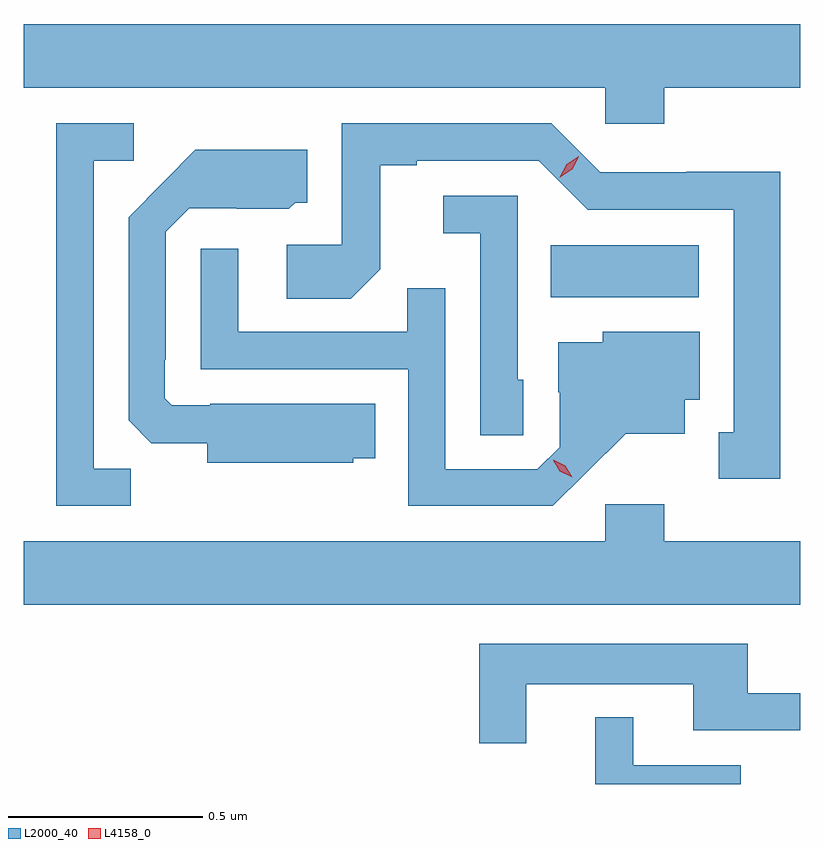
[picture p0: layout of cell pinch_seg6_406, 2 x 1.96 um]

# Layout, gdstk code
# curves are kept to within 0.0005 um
import gdstk
lib = gdstk.Library(unit=1e-6, precision=1e-09)
def R(c, l, rs):  # rectangles x0, y0, x1, y1
    for r in rs: c.add(gdstk.rectangle(r[:2], r[2:], *l))
def P(c, l, *ps):  # polygons
    for p in ps: c.add(gdstk.Polygon(p, *l))
L2000_40 = (2000, 40)
L4158_0 = (4158, 0)

pinch_seg6_406 = lib.new_cell('pinch_seg6_406')
R(pinch_seg6_406, L2000_40, [(636.646,933.476,637.027,933.61)])
P(pinch_seg6_406, L2000_40, [(636.938,934.016),(637.289,934.016),(637.289,934.18),(635.289,934.18),(635.289,934.016),(636.786,934.016),(636.786,933.923),(636.938,933.923)],
  [(635.565,933.035),(635.469,933.035),(635.469,933.828),(635.572,933.828),(635.572,933.924),(635.373,933.924),(635.373,932.94),(635.565,932.94)],
  [(637.237,933.8),(636.996,933.8),(636.996,933.798),(636.774,933.798),(636.648,933.924),(636.108,933.924),(636.108,933.612),(635.967,933.612),(635.967,933.472),(636.131,933.472),(636.207,933.548),(636.207,933.816),(636.301,933.816),(636.301,933.828),(636.615,933.828),(636.741,933.702),(637.118,933.702),(637.118,933.129),(637.079,933.129),(637.079,933.009),(637.237,933.009)],
  [(636.138,933.062),(636.194,933.062),(636.194,933.202),(635.77,933.202),(635.77,933.198),(635.67,933.198),(635.652,933.216),(635.652,933.316),(635.655,933.316),(635.655,933.645),(635.715,933.705),(635.838,933.705),(635.838,933.704),(635.972,933.704),(635.988,933.72),(636.019,933.72),(636.019,933.856),(635.731,933.856),(635.559,933.682),(635.559,933.16),(635.618,933.101),(635.762,933.101),(635.762,933.05),(636.138,933.05)],
  [(636.576,933.264),(636.561,933.264),(636.561,933.738),(636.369,933.738),(636.369,933.641),(636.465,933.641),(636.465,933.121),(636.576,933.121)],
  [(636.736,933.023),(636.839,933.125),(636.991,933.125),(636.991,933.212),(637.03,933.212),(637.03,933.388),(636.78,933.388),(636.78,933.361),(636.665,933.361),(636.665,933.232),(636.669,933.232),(636.669,933.09),(636.612,933.033),(636.375,933.033),(636.375,933.5),(636.277,933.5),(636.277,933.387),(635.841,933.387),(635.841,933.601),(635.745,933.601),(635.745,933.291),(636.279,933.291),(636.279,932.94),(636.652,932.94)],
  [(637.289,932.848),(636.938,932.848),(636.938,932.944),(636.786,932.944),(636.786,932.848),(635.289,932.848),(635.289,932.684),(637.289,932.684)],
  [(636.583,932.48),(637.013,932.48),(637.013,932.361),(637.289,932.361),(637.289,932.457),(637.153,932.457),(637.153,932.584),(636.462,932.584),(636.462,932.328),(636.583,932.328)],
  [(637.136,932.271),(636.859,932.271),(636.859,932.395),(636.761,932.395),(636.761,932.223),(637.136,932.223)])
P(pinch_seg6_406, L4158_0, [(636.67,933.786),(636.67,933.786),(636.687,933.819),(636.718,933.839),(636.719,933.839),(636.719,933.838),(636.702,933.806),(636.671,933.786)],
  [(636.701,933.013),(636.67,933.028),(636.653,933.057),(636.653,933.058),(636.653,933.058),(636.684,933.043),(636.702,933.013),(636.702,933.013)])

lib.write_gds('pinch_seg6_406.gds')
